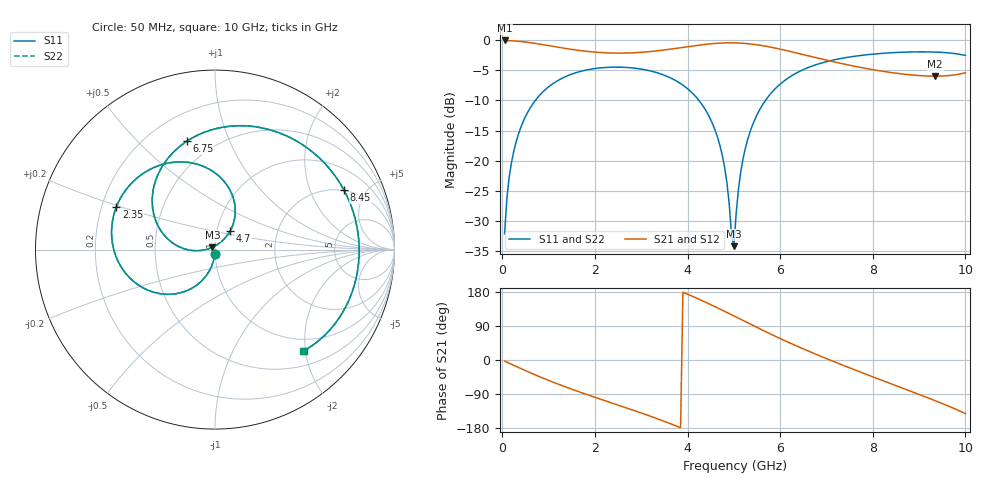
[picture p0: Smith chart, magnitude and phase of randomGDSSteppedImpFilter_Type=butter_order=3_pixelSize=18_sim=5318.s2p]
! freq	dB(S11)	phase(S11)	dB(S12)	phase(S12)
!  dB(S21)	phase(S21)	dB(S22)	phase(S22)
!S-par simulation data
#  GHz  S  DB  R 50
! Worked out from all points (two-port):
!   200 points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, 50 MHz to 10 GHz, reference 50 ohm
!   highest |S21| = -0.01 dB at 50 MHz (marker M1); lowest = -5.9 dB at 9.35 GHz (marker M2)
!   |S21| within 3 dB of the highest: start of sweep to 6.846 GHz
!   lowest |S11| = -34.2 dB at 5 GHz (marker M3), VSWR 1.04, Z = 48.6 + j1.25 ohm
!   |S11| at or under -10 dB: start of sweep to 713.2 MHz; 4.247 GHz to 5.682 GHz (1.435 GHz wide, 28.9 % of centre)
!   |S22| runs from -34.4 to -1.9 dB; largest |S21 - S12| = 0
!   S11 on the Smith chart (normalised r, x): 50 MHz: 1.00, -0.05; 2.35 GHz: 0.26, +0.19; 4.7 GHz: 1.16, +0.24; 6.75 GHz: 0.36, +0.71; 8.45 GHz: 1.99, +3.52; 10 GHz: 0.76, -1.97
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0.05  -32.17 -93.0  -0.01 -2.9  -0.01 -2.9  -32.17 -93.0
0.2  -20.26 -101.9  -0.06 -11.4  -0.06 -11.4  -20.26 -101.9
0.5  -12.69 -118.5  -0.27 -28.0  -0.27 -28.0  -12.69 -118.5
1.05  -7.43 -146.8  -0.93 -56.3  -0.93 -56.3  -7.43 -146.8
1.75  -5.04 -178.4  -1.76 -87.9  -1.76 -87.9  -5.04 -178.4
2.35  -4.46 156.8  -2.10 -112.7  -2.10 -112.7  -4.46 156.8
3.4  -5.52 112.8  -1.68 -157.3  -1.68 -157.3  -5.52 112.7
4.1  -8.74 79.6  -0.93 168.4  -0.93 168.4  -8.74 79.5
4.7  -17.51 50.9  -0.45 134.5  -0.45 134.5  -17.51 50.7
4.85  -23.65 50.2  -0.40 125.5  -0.40 125.5  -23.67 49.8
5  -34.25 138.5  -0.40 116.4  -0.40 116.4  -34.43 139.1
5.05  -28.83 172.5  -0.41 113.4  -0.41 113.4  -28.87 173.1
5.2  -19.64 -176.6  -0.47 104.2  -0.47 104.2  -19.65 -176.4
5.5  -12.39 170.9  -0.73 85.9  -0.73 85.9  -12.39 171.0
6.1  -6.65 138.5  -1.62 51.0  -1.62 51.0  -6.65 138.4
6.7  -4.24 107.2  -2.74 18.8  -2.74 18.8  -4.24 107.2
6.75  -4.10 104.7  -2.83 16.3  -2.83 16.3  -4.10 104.7
7.5  -2.76 68.4  -4.13 -20.7  -4.13 -20.7  -2.76 68.3
8.35  -2.08 29.2  -5.29 -60.7  -5.29 -60.7  -2.08 29.1
8.45  -2.03 24.6  -5.40 -65.3  -5.40 -65.3  -2.03 24.5
9.35  -1.94 -16.5  -5.95 -107.5  -5.95 -107.5  -1.94 -16.7
10  -2.50 -48.8  -5.38 -141.3  -5.38 -141.3  -2.50 -49.0
